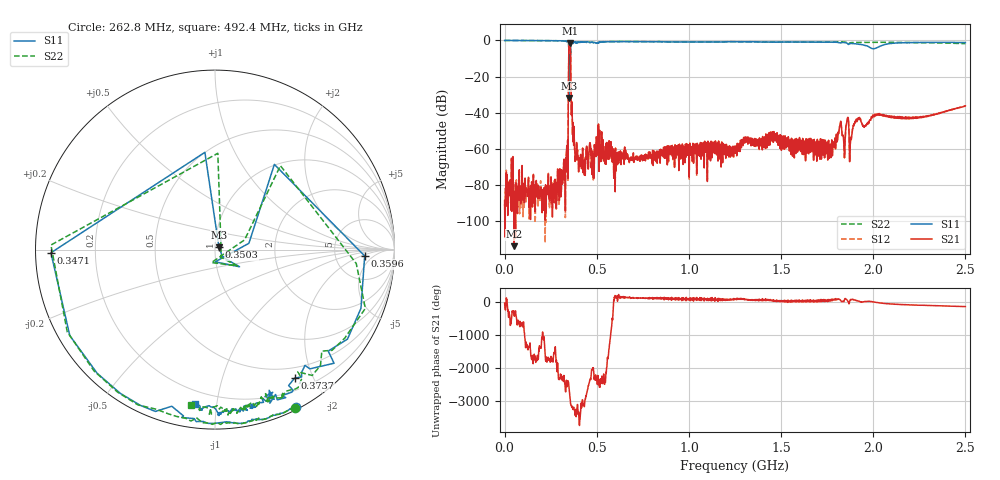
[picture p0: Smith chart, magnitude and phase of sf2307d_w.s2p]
# Hz S RI R 50
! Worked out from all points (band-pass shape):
!   1601 points, 300 kHz to 2.5 GHz, reference 50 ohm
!   highest |S21| = -1.40 dB at 353.4 MHz (marker M1); lowest = -113.9 dB at 51.86 MHz (marker M2)
!   |S21| within 3 dB of the highest: 348.8 MHz to 357.5 MHz (8.61 MHz wide, 2.44 % of centre)
!   lowest |S11| = -31.8 dB at 350.3 MHz (marker M3), VSWR 1.05, Z = 52.2 + j1.4 ohm
!   |S11| at or under -10 dB: 349 MHz to 357.2 MHz (8.239 MHz wide, 2.33 % of centre)
!   |S22| runs from -29.4 to 0.0 dB; largest |S21 - S12| = 0.0027
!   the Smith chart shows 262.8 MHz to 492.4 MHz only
!   S11 on the Smith chart (normalised r, x): 262.8 MHz: 0.02, -1.64; 347.1 MHz: 0.04, -0.01; 350.3 MHz: 1.04, +0.03; 359.6 MHz: 11, -2; 373.7 MHz: 0.35, -1.74; 492.4 MHz: 0.12, -0.87
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300000  0.9999 -0.00251  3.13e-05 -2e-05  3.96e-06 -3.02e-05  0.9998 -0.000795
5.185631e7  0.9769 -0.2064  1.63e-06 -1.2e-06  -2.46e-05 9.54e-06  0.9764 -0.2072
2.627685e8  0.4534 -0.8773  3.04e-05 -1.17e-05  3.49e-05 2.8e-07  0.4482 -0.88
3.315102e8  -0.1052 -0.9581  -0.000511 0.000209  -0.000497 0.000186  -0.1006 -0.9386
3.471334e8  -0.9142 -0.0179  0.0108 0.0761  0.0105 0.0764  -0.9139 0.0254
3.50258e8  0.022 0.0134  -0.6697 -0.5238  -0.6705 -0.5238  0.034 0.00284
3.533826e8  0.1368 -0.0956  0.4313 0.734  0.4316 0.7333  0.124 -0.0908
3.596319e8  0.8339 -0.0355  -0.0631 0.0714  -0.0625 0.0714  0.7869 -0.0773
3.736927e8  0.4434 -0.7157  0.00219 0.000951  0.00219 0.000965  0.4634 -0.7682
3.924404e8  0.3214 -0.7946  0.00047 0.000182  0.000441 0.000195  0.2592 -0.8265
4.174374e8  0.1577 -0.8991  0.000238 0.000154  0.000237 0.000163  0.1568 -0.9
4.924284e8  -0.1126 -0.8623  -0.000895 0.000298  -0.000895 0.000283  -0.1337 -0.8681
8.345749e8  -0.8692 -0.3178  -8.55e-05 0.000559  -0.000114 0.000571  -0.8774 -0.3043
1.25015e9  -0.6744 0.6312  0.000257 0.000803  0.000264 0.000814  -0.6553 0.6563
1.448564e9  -0.2974 0.8565  0.00179 0.00128  0.00179 0.0013  -0.2608 0.8694
1.667287e9  0.1524 0.8888  0.000797 0.000352  0.00077 0.000335  0.1937 0.8847
1.765713e9  0.3478 0.8222  0.000725 0.00113  0.000716 0.00112  0.3811 0.8197
1.820394e9  0.4511 0.7282  0.00158 0.0043  0.00156 0.00432  0.4981 0.7637
1.881324e9  0.5212 0.6378  0.000688 0.00176  0.000682 0.00175  0.5532 0.6727
1.915695e9  0.561 0.5604  0.00518 0.00358  0.00516 0.00356  0.6209 0.6297
2.084425e9  0.5871 0.5636  0.0045 -0.00603  0.0045 -0.00603  0.8278 0.327
2.5e9  0.8329 -0.2596  -0.0117 -0.0101  -0.0118 -0.0102  0.5463 -0.6037
